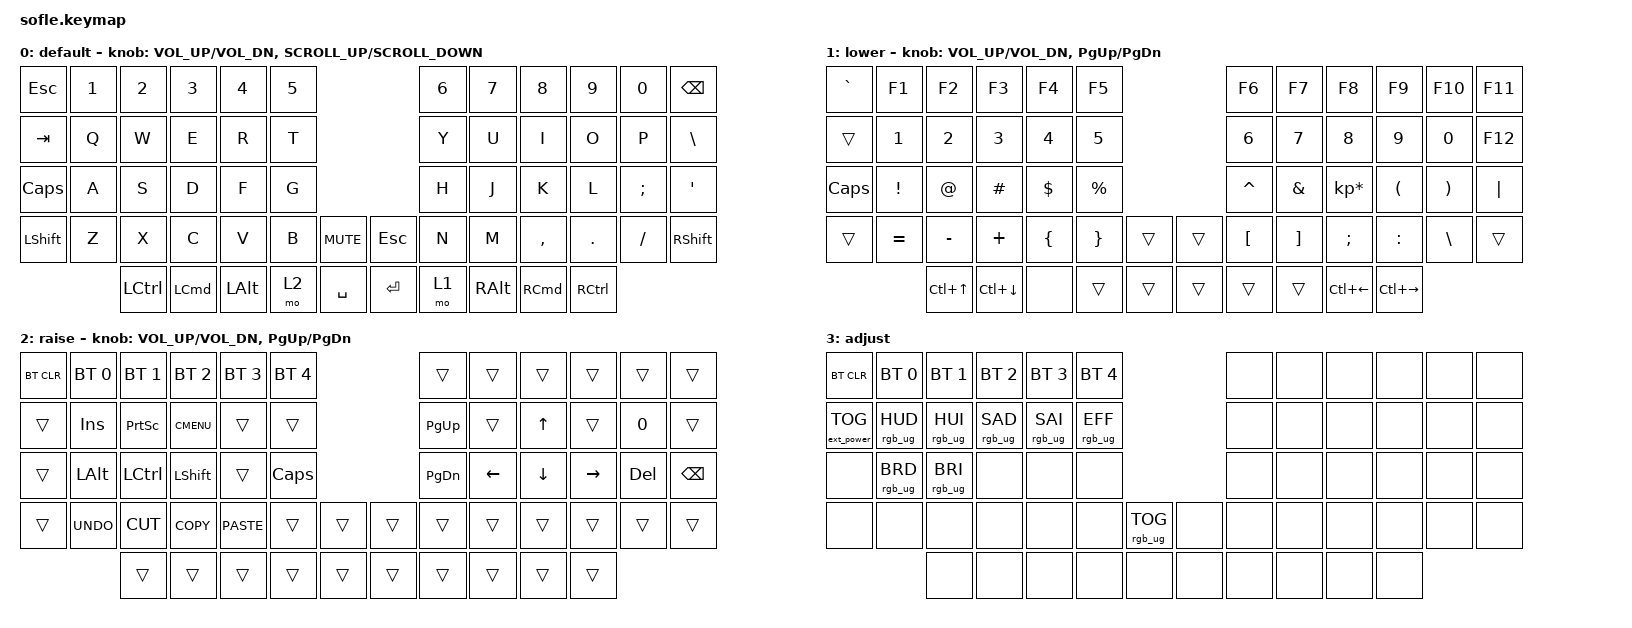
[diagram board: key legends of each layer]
/*
 * Copyright (c) 2020 The ZMK Contributors
 *
 * SPDX-License-Identifier: MIT
 */

#include <behaviors.dtsi>
#include <dt-bindings/zmk/bt.h>
#include <dt-bindings/zmk/ext_power.h>
#include <dt-bindings/zmk/keys.h>
#include <dt-bindings/zmk/rgb.h>

#define BASE 0
#define LOWER 1
#define RAISE 2
#define ADJUST 3

/ {
    // Activate ADJUST layer by pressing raise and lower

    conditional_layers {
        compatible = "zmk,conditional-layers";

        adjust_layer {
            if-layers = <LOWER RAISE>;
            then-layer = <ADJUST>;
        };
    };

    combos { compatible = "zmk,combos"; };

    keymap {
        compatible = "zmk,keymap";

        default_layer {
            label = "default";

            // ------------------------------------------------------------------------------------------------------------
            // |   `   |  1  |  2  |  3   |  4   |  5   |                   |  6   |  7    |  8    |  9   |   0   |       |
            // |  ESC  |  Q  |  W  |  E   |  R   |  T   |                   |  Y   |  U    |  I    |  O   |   P   | BKSPC |
            // |  TAB  |  A  |  S  |  D   |  F   |  G   |                   |  H   |  J    |  K    |  L   |   ;   |   '   |
            // | SHIFT |  Z  |  X  |  C   |  V   |  B   |  MUTE  |  |       |  N   |  M    |  ,    |  .   |   /   | SHIFT |
            //               | GUI | ALT  | CTRL | LOWER|  ENTER |  | SPACE | RAISE| CTRL  | ALT   | GUI  |

            bindings = <
&kp ESC         &kp N1  &kp N2     &kp N3            &kp N4        &kp N5                           &kp N6  &kp N7         &kp N8     &kp N9     &kp N0    &kp BACKSPACE
&kp TAB         &kp Q   &kp W      &kp E             &kp R         &kp T                            &kp Y   &kp U          &kp I      &kp O      &kp P     &kp BACKSLASH
&kp CAPS        &kp A   &kp S      &kp D             &kp F         &kp G                            &kp H   &kp J          &kp K      &kp L      &kp SEMI  &kp SQT
&kp LEFT_SHIFT  &kp Z   &kp X      &kp C             &kp V         &kp B   &kp C_MUTE    &kp ESC    &kp N   &kp M          &kp COMMA  &kp DOT    &kp FSLH  &kp RSHFT
                        &kp LCTRL  &kp LEFT_COMMAND  &kp LEFT_ALT  &mo 2   &kp SPACE     &kp ENTER  &mo 1   &kp RIGHT_ALT  &kp RCMD   &kp RCTRL
            >;

            sensor-bindings =
                <&inc_dec_kp C_VOL_UP C_VOL_DN>,
                <&inc_dec_kp K_SCROLL_UP K_SCROLL_DOWN>;
        };

        lower_layer {
            label = "lower";

            // TODO: Some binds are waiting for shifted keycode support.
            // ------------------------------------------------------------------------------------------------------------
            // |       |  F1 |  F2 |  F3  |  F4  |  F5  |                   |  F6  |  F7   |  F8   |  F9  |  F10  |  F11  |
            // |   `   |  1  |  2  |  3   |  4   |  5   |                   |  6   |  7    |  8    |  9   |   0   |  F12  |
            // |       |  !  |  @  |  #   |  $   |  %   |                   |  ^   |  &    |  *    |  (   |   )   |   |   |
            // |       |  =  |  -  |  +   |  {   |  }   |        |  |       |  [   |  ]    |  ;    |  :   |   \   |       |
            //               |     |      |      |      |        |  |       |      |       |       |      |

            bindings = <
&kp GRAVE     &kp F1     &kp F2            &kp F3              &kp F4    &kp F5                       &kp F6     &kp F7    &kp F8           &kp F9         &kp F10   &kp F11
&trans        &kp N1     &kp N2            &kp N3              &kp N4    &kp N5                       &kp N6     &kp N7    &kp N8           &kp N9         &kp N0    &kp F12
&kp CAPSLOCK  &kp EXCL   &kp AT            &kp HASH            &kp DLLR  &kp PRCNT                    &kp CARET  &kp AMPS  &kp KP_MULTIPLY  &kp LPAR       &kp RPAR  &kp PIPE
&trans        &kp EQUAL  &kp MINUS         &kp PLUS            &kp LBRC  &kp RBRC   &trans    &trans  &kp LBKT   &kp RBKT  &kp SEMI         &kp COLON      &kp BSLH  &trans
                         &kp LC(UP_ARROW)  &kp LC(DOWN_ARROW)  &none     &trans     &trans    &trans  &trans     &trans    &kp LC(LEFT)     &kp LC(RIGHT)
            >;

            sensor-bindings = <&inc_dec_kp C_VOL_UP C_VOL_DN &inc_dec_kp PG_UP PG_DN>;
        };

        raise_layer {
            label = "raise";

            // ------------------------------------------------------------------------------------------------------------
            // | BTCLR | BT1  | BT2  |  BT3  |  BT4  |  BT5 |                |      |      |       |      |       |       |
            // |       | INS  | PSCR | GUI   |       |      |                | PGUP |      |   ^   |      |       |       |
            // |       | ALT  | CTRL | SHIFT |       | CAPS |                | PGDN |   <- |   v   |  ->  |  DEL  | BKSPC |
            // |       | UNDO | CUT  | COPY  | PASTE |      |      |  |      |      |      |       |      |       |       |
            //                |      |       |       |      |      |  |      |      |      |       |      |

            bindings = <
&bt BT_CLR  &bt BT_SEL 0  &bt BT_SEL 1  &bt BT_SEL 2  &bt BT_SEL 3  &bt BT_SEL 4                    &trans     &trans    &trans    &trans     &trans   &trans
&trans      &kp INS       &kp PSCRN     &kp K_CMENU   &trans        &trans                          &kp PG_UP  &trans    &kp UP    &trans     &kp N0   &trans
&trans      &kp LALT      &kp LCTRL     &kp LSHFT     &trans        &kp CLCK                        &kp PG_DN  &kp LEFT  &kp DOWN  &kp RIGHT  &kp DEL  &kp BSPC
&trans      &kp K_UNDO    &kp K_CUT     &kp K_COPY    &kp K_PASTE   &trans        &trans    &trans  &trans     &trans    &trans    &trans     &trans   &trans
                          &trans        &trans        &trans        &trans        &trans    &trans  &trans     &trans    &trans    &trans
            >;

            sensor-bindings =
                <&inc_dec_kp C_VOL_UP C_VOL_DN>,
                <&inc_dec_kp PAGE_UP PAGE_DOWN>;
        };

        adjust_layer {
            // ----------------------------------------------------------------------------------------------------------------------------
            // | BTCLR  |  BT1    |  BT2    |   BT3   |   BT4   |   BT5   |                  |      |      |       |      |       |       |
            // | EXTPWR | RGB_HUD | RGB_HUI | RGB_SAD | RGB_SAI | RGB_EFF |                  |      |      |       |      |       |       |
            // |        | RGB_BRD | RGB_BRI |         |         |         |                  |      |      |       |      |       |       |
            // |        |         |         |         |         |         | RGB_TOG | |      |      |      |       |      |       |       |
            //                    |         |         |         |         |         | |      |      |      |       |      |

            label = "adjust";
            bindings = <
&bt BT_CLR         &bt BT_SEL 0     &bt BT_SEL 1     &bt BT_SEL 2     &bt BT_SEL 3     &bt BT_SEL 4                               &none  &none  &none  &none  &none  &none
&ext_power EP_TOG  &rgb_ug RGB_HUD  &rgb_ug RGB_HUI  &rgb_ug RGB_SAD  &rgb_ug RGB_SAI  &rgb_ug RGB_EFF                            &none  &none  &none  &none  &none  &none
&none              &rgb_ug RGB_BRD  &rgb_ug RGB_BRI  &none            &none            &none                                      &none  &none  &none  &none  &none  &none
&none              &none            &none            &none            &none            &none            &rgb_ug RGB_TOG    &none  &none  &none  &none  &none  &none  &none
                                    &none            &none            &none            &none            &none              &none  &none  &none  &none  &none
            >;
        };
    };
};
